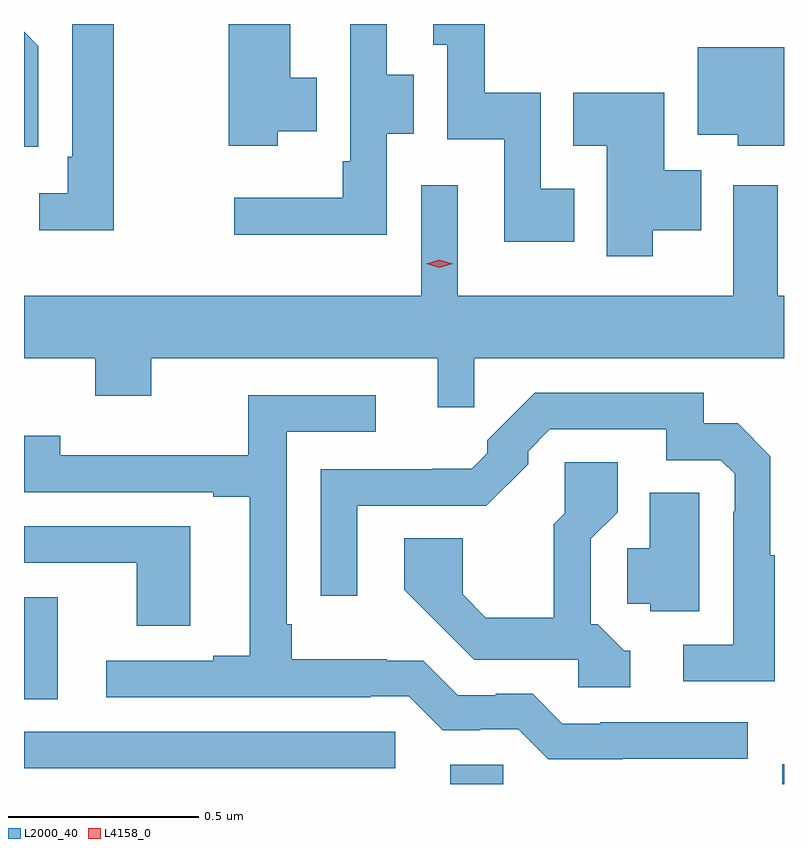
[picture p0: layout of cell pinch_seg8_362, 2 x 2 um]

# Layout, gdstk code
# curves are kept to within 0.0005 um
import gdstk
lib = gdstk.Library(unit=1e-6, precision=1e-09)
def R(c, l, rs):  # rectangles x0, y0, x1, y1
    for r in rs: c.add(gdstk.rectangle(r[:2], r[2:], *l))
def P(c, l, *ps):  # polygons
    for p in ps: c.add(gdstk.Polygon(p, *l))
L2000_40 = (2000, 40)
L4158_0 = (4158, 0)

pinch_seg8_362 = lib.new_cell('pinch_seg8_362')
R(pinch_seg8_362, L2000_40, [(372.398,1143.351,372.537,1143.402), (373.271,1143.351,373.276,1143.403), (371.276,1143.393,372.253,1143.489), (371.276,1143.574,371.365,1143.843)])
P(pinch_seg8_362, L2000_40, [(371.512,1145.351),(371.403,1145.351),(371.403,1145.002),(371.391,1145.002),(371.391,1144.905),(371.316,1144.905),(371.316,1144.808),(371.512,1144.808)],
  [(372.231,1145.062),(372.301,1145.062),(372.301,1145.217),(372.231,1145.217),(372.231,1145.351),(372.134,1145.351),(372.134,1145.305),(372.135,1145.305),(372.135,1144.99),(372.115,1144.99),(372.115,1144.894),(371.829,1144.894),(371.829,1144.796),(372.231,1144.796)],
  [(372.724,1144.918),(372.636,1144.918),(372.636,1145.17),(372.489,1145.17),(372.489,1145.351),(372.353,1145.351),(372.353,1145.296),(372.39,1145.296),(372.39,1145.048),(372.54,1145.048),(372.54,1144.778),(372.724,1144.778)],
  [(371.944,1145.069),(372.046,1145.069),(372.046,1145.209),(371.977,1145.209),(371.977,1145.351),(371.815,1145.351),(371.815,1145.03),(371.944,1145.03)],
  [(371.314,1145.292),(371.276,1145.33),(371.276,1145.028),(371.314,1145.028)],
  [(373.276,1145.29),(373.049,1145.29),(373.049,1145.06),(373.154,1145.06),(373.154,1145.03),(373.276,1145.03)],
  [(372.931,1144.808),(373.058,1144.808),(373.058,1144.966),(372.961,1144.966),(372.961,1145.17),(372.721,1145.17),(372.721,1145.03),(372.809,1145.03),(372.809,1144.74),(372.931,1144.74)],
  [(372.461,1144.472),(373.276,1144.472),(373.276,1144.636),(373.259,1144.636),(373.259,1144.927),(373.143,1144.927),(373.143,1144.636),(372.417,1144.636),(372.417,1144.927),(372.321,1144.927),(372.321,1144.636),(371.276,1144.636),(371.276,1144.472),(371.464,1144.472),(371.464,1144.373),(371.611,1144.373),(371.611,1144.472),(372.365,1144.472),(372.365,1144.343),(372.461,1144.343)],
  [(373.252,1143.953),(373.24,1143.953),(373.24,1144.214),(373.154,1144.3),(373.065,1144.3),(373.065,1144.38),(372.62,1144.38),(372.495,1144.255),(372.495,1144.221),(372.454,1144.18),(372.35,1144.18),(372.35,1144.179),(372.057,1144.179),(372.057,1143.846),(372.153,1143.846),(372.153,1144.083),(372.493,1144.083),(372.603,1144.193),(372.603,1144.227),(372.66,1144.284),(372.966,1144.284),(372.966,1144.203),(373.11,1144.203),(373.146,1144.167),(373.146,1144.067),(373.143,1144.067),(373.143,1143.717),(373.011,1143.717),(373.011,1143.621),(373.252,1143.621)],
  [(372.851,1143.417),(373.18,1143.417),(373.18,1143.513),(372.793,1143.513),(372.793,1143.51),(372.693,1143.51),(372.615,1143.588),(372.518,1143.588),(372.518,1143.585),(372.417,1143.585),(372.327,1143.675),(372.23,1143.675),(372.23,1143.679),(371.98,1143.679),(371.98,1143.772),(371.967,1143.772),(371.967,1144.278),(372.202,1144.278),(372.202,1144.374),(371.866,1144.374),(371.866,1144.216),(371.372,1144.216),(371.372,1144.267),(371.276,1144.267),(371.276,1144.119),(371.774,1144.119),(371.774,1144.107),(371.87,1144.107),(371.87,1143.688),(371.774,1143.688),(371.774,1143.675),(371.493,1143.675),(371.493,1143.579),(372.188,1143.579),(372.188,1143.582),(372.288,1143.582),(372.378,1143.492),(372.476,1143.492),(372.476,1143.495),(372.576,1143.495),(372.655,1143.416),(372.851,1143.416)],
  [(372.871,1143.702),(372.855,1143.702),(372.786,1143.771),(372.768,1143.771),(372.768,1143.996),(372.838,1144.066),(372.838,1144.198),(372.699,1144.198),(372.699,1144.063),(372.67,1144.034),(372.67,1143.789),(372.491,1143.789),(372.43,1143.85),(372.43,1143.998),(372.276,1143.998),(372.276,1143.862),(372.461,1143.678),(372.735,1143.678),(372.735,1143.606),(372.871,1143.606)],
  [(373.053,1144.118),(372.923,1144.118),(372.923,1143.971),(372.864,1143.971),(372.864,1143.825),(372.924,1143.825),(372.924,1143.806),(373.053,1143.806)],
  [(371.713,1144.029),(371.276,1144.029),(371.276,1143.933),(371.573,1143.933),(371.573,1143.768),(371.713,1143.768)])
P(pinch_seg8_362, L4158_0, [(372.369,1144.71),(372.334,1144.72),(372.333,1144.72),(372.334,1144.72),(372.369,1144.73),(372.404,1144.72),(372.405,1144.72),(372.404,1144.72)])

lib.write_gds('pinch_seg8_362.gds')
